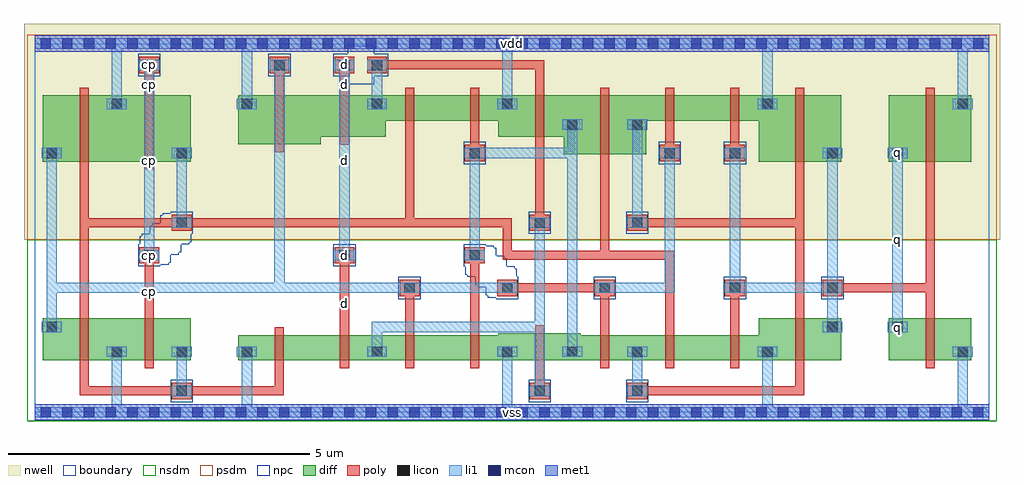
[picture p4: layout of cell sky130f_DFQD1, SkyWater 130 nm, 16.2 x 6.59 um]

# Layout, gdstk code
import gdstk
lib = gdstk.Library(unit=1e-6, precision=1e-09)
def R(c, l, rs):  # rectangles x0, y0, x1, y1
    for r in rs: c.add(gdstk.rectangle(r[:2], r[2:], *l))
def A(c, l, x, y, w, h, nx, ny, dx, dy):  # array of equal rectangles
    R(c, l, [(x+i*dx, y+j*dy, x+i*dx+w, y+j*dy+h) for i in range(nx) for j in range(ny)])
def P(c, l, *ps):  # polygons
    for p in ps: c.add(gdstk.Polygon(p, *l))
L0_0 = (0, 0)
nwell = (64, 20)
diff = (65, 20)
poly = (66, 20)
licon = (66, 44)
li1 = (67, 20)
mcon = (67, 44)
met1 = (68, 20)
nsdm = (93, 44)
psdm = (94, 20)
npc = (95, 20)
boundary = (235, 4)

sky130f_dfqd1 = lib.new_cell('sky130f_DFQD1')
R(sky130f_dfqd1, nwell, [(-0.18,2.86,16.02,6.445)])
A(sky130f_dfqd1, diff, 1.215, 0.86, 0.29, 0.29, 3, 1, 1.08, 0)
A(sky130f_dfqd1, diff, 3.375, 0.86, 1.37, 0.42, 4, 1, 1.08, 0)
A(sky130f_dfqd1, diff, 7.695, 0.86, 0.29, 0.29, 3, 1, 1.08, 0)
A(sky130f_dfqd1, diff, 8.775, 0.86, 1.37, 0.42, 3, 1, 1.08, 0)
A(sky130f_dfqd1, diff, 1.215, 4.97, 0.29, 0.29, 4, 1, 2.16, 0)
R(sky130f_dfqd1, diff, [(0.135,0.86,1.505,1.56), (1.215,0.86,2.585,1.56), (5.535,0.86,5.825,1.15), (7.695,0.86,9.065,1.315), (12.015,0.86,13.385,1.56), (12.015,0.86,12.305,1.15), (14.175,0.86,15.545,1.56), (15.255,0.86,15.545,1.15), (0.135,1.27,0.425,1.56), (13.095,1.27,13.385,1.56), (14.175,1.27,14.465,1.56), (0.135,4.16,1.505,5.26), (0.135,4.16,0.425,4.45), (1.215,4.16,2.585,5.26), (2.295,4.16,2.585,4.45), (12.015,4.16,13.385,5.26), (13.095,4.16,13.385,4.45), (14.175,4.16,15.545,5.26), (14.175,4.16,14.465,4.45), (8.775,4.285,10.145,5.26), (3.375,4.45,4.745,5.26), (4.455,4.57,5.825,5.26), (7.695,4.57,9.065,5.26), (8.775,4.63,9.065,4.92), (9.855,4.63,10.145,4.92), (5.535,4.84,6.905,5.26), (6.615,4.84,7.985,5.26), (9.855,4.84,11.225,5.26), (10.935,4.84,12.305,5.26), (12.015,4.97,12.305,5.26), (15.255,4.97,15.545,5.26)])
A(sky130f_dfqd1, poly, 3.985, 0.28, 0.15, 0.8, 3, 1, 4.32, 0)
A(sky130f_dfqd1, poly, 3.985, 0.73, 0.15, 0.68, 4, 1, 1.08, 0)
A(sky130f_dfqd1, poly, 9.385, 0.73, 0.15, 0.68, 3, 1, 1.08, 0)
A(sky130f_dfqd1, poly, 6.055, 1.93, 0.33, 0.27, 3, 1, 1.62, 0)
R(sky130f_dfqd1, poly, [(2.275,0.22,2.605,0.49), (8.215,0.22,8.545,0.49), (9.835,0.22,10.165,0.49), (0.745,0.28,0.895,1.08), (0.745,0.28,4.135,0.43), (9.925,0.28,12.775,0.43), (0.745,0.73,0.895,1.69), (1.825,0.73,1.975,1.69), (8.305,0.73,8.455,1.445), (12.625,0.73,12.775,1.69), (14.785,0.73,14.935,1.69), (0.745,0.93,0.895,4.38), (5.065,0.93,5.215,2.68), (6.145,0.93,6.295,2.14), (7.225,0.93,7.375,2.68), (9.385,0.93,9.535,2.14), (10.465,0.93,10.615,2.68), (11.545,0.93,11.695,2.14), (1.825,1.34,1.975,2.68), (12.625,1.34,12.775,4.38), (14.785,1.34,14.935,2.14), (11.455,1.93,11.785,2.2), (11.455,1.93,11.785,2.2), (13.075,1.93,13.405,2.2), (13.075,1.93,13.405,2.2), (7.765,1.99,9.535,2.14), (13.165,1.99,14.935,2.14), (13.165,1.99,14.935,2.14), (14.785,1.99,14.935,4.38), (1.735,2.47,2.065,2.74), (4.975,2.47,5.305,2.74), (7.135,2.47,7.465,2.74), (7.765,2.53,10.615,2.68), (7.765,2.53,7.915,3.22), (9.385,2.53,9.535,4.85), (2.275,3.01,2.605,3.28), (8.215,3.01,8.545,3.28), (9.835,3.01,10.165,3.28), (0.745,3.07,2.515,3.22), (0.745,3.07,7.915,3.22), (2.365,3.07,6.295,3.22), (6.145,3.07,6.295,5.19), (8.305,3.07,8.455,4.85), (9.925,3.07,12.775,3.22), (0.745,4.03,0.895,5.39), (1.825,4.03,1.975,5.39), (12.625,4.03,12.775,5.39), (14.785,4.03,14.935,5.39), (9.385,4.155,9.535,5.39), (7.135,4.17,7.465,4.44), (10.375,4.17,10.705,4.44), (11.455,4.17,11.785,4.44), (7.225,4.23,7.375,5.19), (10.465,4.23,10.615,5.19), (11.545,4.23,11.695,5.19), (3.985,4.32,4.135,5.39), (5.065,4.44,5.215,5.39), (8.305,4.44,8.455,5.39), (6.145,4.71,6.295,5.39), (7.225,4.71,7.375,5.39), (10.465,4.71,10.615,5.39), (11.545,4.71,11.695,5.39), (8.305,4.85,8.455,5.04), (1.825,5.04,1.975,5.84), (3.985,5.04,4.135,5.84), (5.065,5.04,5.215,5.84), (8.305,5.04,8.455,5.84), (1.735,5.63,2.065,5.9), (3.895,5.63,4.225,5.9), (4.975,5.63,5.305,5.9), (5.515,5.63,5.845,5.9), (5.605,5.69,8.455,5.84)])
A(sky130f_dfqd1, licon, 1.275, 0.92, 0.17, 0.17, 3, 1, 1.08, 0)
A(sky130f_dfqd1, licon, 7.755, 0.92, 0.17, 0.17, 3, 1, 1.08, 0)
A(sky130f_dfqd1, licon, 6.135, 1.98, 0.17, 0.17, 3, 1, 1.62, 0)
A(sky130f_dfqd1, licon, 1.275, 5.03, 0.17, 0.17, 4, 1, 2.16, 0)
R(sky130f_dfqd1, licon, [(2.355,0.27,2.525,0.44), (8.295,0.27,8.465,0.44), (9.915,0.27,10.085,0.44), (5.595,0.92,5.765,1.09), (12.075,0.92,12.245,1.09), (15.315,0.92,15.485,1.09), (0.195,1.33,0.365,1.5), (13.155,1.33,13.325,1.5), (14.235,1.33,14.405,1.5), (11.535,1.98,11.705,2.15), (11.535,1.98,11.705,2.15), (13.155,1.98,13.325,2.15), (13.155,1.98,13.325,2.15), (1.815,2.52,1.985,2.69), (5.055,2.52,5.225,2.69), (7.215,2.52,7.385,2.69), (2.355,3.06,2.525,3.23), (8.295,3.06,8.465,3.23), (9.915,3.06,10.085,3.23), (0.195,4.22,0.365,4.39), (2.355,4.22,2.525,4.39), (7.215,4.22,7.385,4.39), (10.455,4.22,10.625,4.39), (11.535,4.22,11.705,4.39), (13.155,4.22,13.325,4.39), (14.235,4.22,14.405,4.39), (8.835,4.69,9.005,4.86), (9.915,4.69,10.085,4.86), (12.075,5.03,12.245,5.2), (15.315,5.03,15.485,5.2), (1.815,5.68,1.985,5.85), (3.975,5.68,4.145,5.85), (5.055,5.68,5.225,5.85), (5.595,5.68,5.765,5.85)])
A(sky130f_dfqd1, li1, 3.435, 0.06, 0.17, 1.03, 3, 2, 4.32, 4.97)
A(sky130f_dfqd1, li1, 1.195, 0.92, 0.33, 0.17, 3, 1, 1.08, 0)
A(sky130f_dfqd1, li1, 7.675, 0.92, 0.33, 0.17, 3, 1, 1.08, 0)
A(sky130f_dfqd1, li1, 6.055, 1.98, 0.33, 0.17, 3, 1, 1.62, 0)
A(sky130f_dfqd1, li1, 1.195, 5.03, 0.33, 0.17, 4, 1, 2.16, 0)
R(sky130f_dfqd1, li1, [(0,-0.085,15.84,0.085), (1.275,0.06,1.445,1.09), (15.315,0.06,15.485,1.09), (2.275,0.27,2.605,0.44), (2.355,0.27,2.525,1.09), (8.215,0.27,8.545,0.44), (8.295,0.27,8.465,1.5), (9.835,0.27,10.165,0.44), (9.915,0.27,10.085,1.09), (5.515,0.92,5.845,1.09), (5.595,0.92,5.765,1.5), (8.835,0.92,9.005,4.39), (11.995,0.92,12.325,1.09), (15.235,0.92,15.565,1.09), (0.115,1.33,0.445,1.5), (0.195,1.33,0.365,2.15), (5.595,1.33,8.465,1.5), (8.295,1.33,8.465,3.23), (13.075,1.33,13.405,1.5), (13.155,1.33,13.325,2.15), (13.155,1.33,13.325,2.15), (14.155,1.33,14.485,1.5), (14.235,1.33,14.405,4.39), (0.195,1.98,6.305,2.15), (0.195,1.98,0.365,4.39), (3.975,1.98,4.145,5.85), (6.135,1.98,7.925,2.15), (9.375,1.98,10.625,2.15), (10.455,1.98,10.625,4.39), (11.455,1.98,11.785,2.15), (11.455,1.98,11.785,2.15), (11.535,1.98,13.325,2.15), (11.535,1.98,13.325,2.15), (11.535,1.98,11.705,4.39), (12.615,1.98,13.325,2.15), (13.075,1.98,13.405,2.15), (13.075,1.98,13.405,2.15), (13.155,1.98,13.325,4.39), (1.735,2.52,2.065,2.69), (1.815,2.52,1.985,5.85), (4.975,2.52,5.305,2.69), (5.055,2.52,5.225,5.85), (7.135,2.52,7.465,2.69), (7.215,2.52,7.385,4.39), (2.275,3.06,2.605,3.23), (2.355,3.06,2.525,4.39), (8.215,3.06,8.545,3.23), (9.835,3.06,10.165,3.23), (9.915,3.06,10.085,4.86), (0.115,4.22,0.445,4.39), (2.275,4.22,2.605,4.39), (7.135,4.22,7.465,4.39), (7.215,4.22,9.005,4.39), (8.835,4.22,9.005,4.86), (10.375,4.22,10.705,4.39), (11.455,4.22,11.785,4.39), (13.075,4.22,13.405,4.39), (14.155,4.22,14.485,4.39), (8.755,4.69,9.085,4.86), (9.835,4.69,10.165,4.86), (1.275,5.03,1.445,6.06), (5.595,5.03,5.765,5.85), (11.995,5.03,12.325,5.2), (15.235,5.03,15.565,5.2), (15.315,5.03,15.485,6.06), (1.735,5.68,2.065,5.85), (3.895,5.68,4.225,5.85), (4.975,5.68,5.305,5.85), (5.515,5.68,5.845,5.85), (0,6.035,15.84,6.205)])
A(sky130f_dfqd1, mcon, 0.095, -0.085, 0.17, 0.17, 44, 2, 0.36, 6.12)
R(sky130f_dfqd1, met1, [(0,-0.135,15.84,0.135), (0,5.985,15.84,6.255)])
R(sky130f_dfqd1, nsdm, [(-0.125,-0.145,15.965,0.145), (-0.125,0.145,15.965,2.86)])
R(sky130f_dfqd1, psdm, [(-0.125,2.86,15.965,5.975), (-0.125,5.975,15.965,6.265)])
R(sky130f_dfqd1, npc, [(2.255,0.17,2.625,0.54), (8.195,0.17,8.565,0.54), (9.815,0.17,10.185,0.54), (6.035,1.88,6.405,2.25), (9.275,1.88,9.645,2.25), (11.435,1.88,11.805,2.25), (13.055,1.88,13.425,2.25), (4.955,2.42,5.325,2.79), (8.195,2.96,8.565,3.33), (9.815,2.96,10.185,3.33), (7.115,4.12,7.485,4.49), (10.355,4.12,10.725,4.49), (11.435,4.12,11.805,4.49), (1.715,5.58,2.085,5.95), (3.875,5.58,4.245,5.95)])
P(sky130f_dfqd1, npc, [(7.655,1.88),(7.655,1.905),(7.52,1.905),(7.52,1.94),(7.485,1.94),(7.485,2.075),(7.35,2.075),(7.35,2.115),(7.31,2.115),(7.31,2.25),(7.175,2.25),(7.175,2.285),(7.14,2.285),(7.14,2.42),(7.115,2.42),(7.115,2.79),(7.485,2.79),(7.485,2.765),(7.62,2.765),(7.62,2.73),(7.655,2.73),(7.655,2.595),(7.79,2.595),(7.79,2.555),(7.83,2.555),(7.83,2.42),(7.965,2.42),(7.965,2.385),(8,2.385),(8,2.25),(8.025,2.25),(8.025,1.88)],
  [(1.715,2.42),(1.715,2.79),(1.74,2.79),(1.74,2.925),(1.775,2.925),(1.775,2.96),(1.91,2.96),(1.91,3.095),(1.95,3.095),(1.95,3.135),(2.085,3.135),(2.085,3.27),(2.12,3.27),(2.12,3.305),(2.255,3.305),(2.255,3.33),(2.625,3.33),(2.625,2.96),(2.6,2.96),(2.6,2.825),(2.565,2.825),(2.565,2.79),(2.43,2.79),(2.43,2.655),(2.39,2.655),(2.39,2.615),(2.255,2.615),(2.255,2.48),(2.22,2.48),(2.22,2.445),(2.085,2.445),(2.085,2.42)],
  [(5.19,5.445),(5.19,5.58),(4.955,5.58),(4.955,5.95),(5.19,5.95),(5.19,6.085),(5.63,6.085),(5.63,5.95),(5.865,5.95),(5.865,5.58),(5.63,5.58),(5.63,5.445)])
R(sky130f_dfqd1, boundary, [(0,0,15.84,6.12)])
sky130f_dfqd1.add(gdstk.FlexPath([(0.115,0.355),(15.565,0.355)], 0, ends="flush", simple_path=True, layer=0, datatype=0))  # L0_0
sky130f_dfqd1.add(gdstk.FlexPath([(0.115,1.005),(15.565,1.005)], 0, ends="flush", simple_path=True, layer=0, datatype=0))  # L0_0
sky130f_dfqd1.add(gdstk.FlexPath([(0.115,1.415),(15.565,1.415)], 0, ends="flush", simple_path=True, layer=0, datatype=0))  # L0_0
sky130f_dfqd1.add(gdstk.FlexPath([(0.115,2.065),(15.565,2.065)], 0, ends="flush", simple_path=True, layer=0, datatype=0))  # L0_0
sky130f_dfqd1.add(gdstk.FlexPath([(0.115,2.605),(15.565,2.605)], 0, ends="flush", simple_path=True, layer=0, datatype=0))  # L0_0
sky130f_dfqd1.add(gdstk.FlexPath([(0.115,3.145),(15.565,3.145)], 0, ends="flush", simple_path=True, layer=0, datatype=0))  # L0_0
sky130f_dfqd1.add(gdstk.FlexPath([(0.115,4.305),(15.565,4.305)], 0, ends="flush", simple_path=True, layer=0, datatype=0))  # L0_0
sky130f_dfqd1.add(gdstk.FlexPath([(0.115,4.775),(15.565,4.775)], 0, ends="flush", simple_path=True, layer=0, datatype=0))  # L0_0
sky130f_dfqd1.add(gdstk.FlexPath([(0.115,5.115),(15.565,5.115)], 0, ends="flush", simple_path=True, layer=0, datatype=0))  # L0_0
sky130f_dfqd1.add(gdstk.FlexPath([(0.115,5.765),(15.565,5.765)], 0, ends="flush", simple_path=True, layer=0, datatype=0))  # L0_0
sky130f_dfqd1.add(gdstk.FlexPath([(0.28,0.06),(0.28,6.06)], 0, ends="flush", simple_path=True, layer=0, datatype=0))  # L0_0
sky130f_dfqd1.add(gdstk.FlexPath([(0.82,0.06),(0.82,6.06)], 0, ends="flush", simple_path=True, layer=0, datatype=0))  # L0_0
sky130f_dfqd1.add(gdstk.FlexPath([(1.36,0.06),(1.36,6.06)], 0, ends="flush", simple_path=True, layer=0, datatype=0))  # L0_0
sky130f_dfqd1.add(gdstk.FlexPath([(1.9,0.06),(1.9,6.06)], 0, ends="flush", simple_path=True, layer=0, datatype=0))  # L0_0
sky130f_dfqd1.add(gdstk.FlexPath([(2.44,0.06),(2.44,6.06)], 0, ends="flush", simple_path=True, layer=0, datatype=0))  # L0_0
sky130f_dfqd1.add(gdstk.FlexPath([(2.98,0.06),(2.98,6.06)], 0, ends="flush", simple_path=True, layer=0, datatype=0))  # L0_0
sky130f_dfqd1.add(gdstk.FlexPath([(3.52,0.06),(3.52,6.06)], 0, ends="flush", simple_path=True, layer=0, datatype=0))  # L0_0
sky130f_dfqd1.add(gdstk.FlexPath([(4.06,0.06),(4.06,6.06)], 0, ends="flush", simple_path=True, layer=0, datatype=0))  # L0_0
sky130f_dfqd1.add(gdstk.FlexPath([(4.6,0.06),(4.6,6.06)], 0, ends="flush", simple_path=True, layer=0, datatype=0))  # L0_0
sky130f_dfqd1.add(gdstk.FlexPath([(5.14,0.06),(5.14,6.06)], 0, ends="flush", simple_path=True, layer=0, datatype=0))  # L0_0
sky130f_dfqd1.add(gdstk.FlexPath([(5.68,0.06),(5.68,6.06)], 0, ends="flush", simple_path=True, layer=0, datatype=0))  # L0_0
sky130f_dfqd1.add(gdstk.FlexPath([(6.22,0.06),(6.22,6.06)], 0, ends="flush", simple_path=True, layer=0, datatype=0))  # L0_0
sky130f_dfqd1.add(gdstk.FlexPath([(6.76,0.06),(6.76,6.06)], 0, ends="flush", simple_path=True, layer=0, datatype=0))  # L0_0
sky130f_dfqd1.add(gdstk.FlexPath([(7.3,0.06),(7.3,6.06)], 0, ends="flush", simple_path=True, layer=0, datatype=0))  # L0_0
sky130f_dfqd1.add(gdstk.FlexPath([(7.84,0.06),(7.84,6.06)], 0, ends="flush", simple_path=True, layer=0, datatype=0))  # L0_0
sky130f_dfqd1.add(gdstk.FlexPath([(8.38,0.06),(8.38,6.06)], 0, ends="flush", simple_path=True, layer=0, datatype=0))  # L0_0
sky130f_dfqd1.add(gdstk.FlexPath([(8.92,0.06),(8.92,6.06)], 0, ends="flush", simple_path=True, layer=0, datatype=0))  # L0_0
sky130f_dfqd1.add(gdstk.FlexPath([(9.46,0.06),(9.46,6.06)], 0, ends="flush", simple_path=True, layer=0, datatype=0))  # L0_0
sky130f_dfqd1.add(gdstk.FlexPath([(10,0.06),(10,6.06)], 0, ends="flush", simple_path=True, layer=0, datatype=0))  # L0_0
sky130f_dfqd1.add(gdstk.FlexPath([(10.54,0.06),(10.54,6.06)], 0, ends="flush", simple_path=True, layer=0, datatype=0))  # L0_0
sky130f_dfqd1.add(gdstk.FlexPath([(11.08,0.06),(11.08,6.06)], 0, ends="flush", simple_path=True, layer=0, datatype=0))  # L0_0
sky130f_dfqd1.add(gdstk.FlexPath([(11.62,0.06),(11.62,6.06)], 0, ends="flush", simple_path=True, layer=0, datatype=0))  # L0_0
sky130f_dfqd1.add(gdstk.FlexPath([(12.16,0.06),(12.16,6.06)], 0, ends="flush", simple_path=True, layer=0, datatype=0))  # L0_0
sky130f_dfqd1.add(gdstk.FlexPath([(12.7,0.06),(12.7,6.06)], 0, ends="flush", simple_path=True, layer=0, datatype=0))  # L0_0
sky130f_dfqd1.add(gdstk.FlexPath([(13.24,0.06),(13.24,6.06)], 0, ends="flush", simple_path=True, layer=0, datatype=0))  # L0_0
sky130f_dfqd1.add(gdstk.FlexPath([(13.78,0.06),(13.78,6.06)], 0, ends="flush", simple_path=True, layer=0, datatype=0))  # L0_0
sky130f_dfqd1.add(gdstk.FlexPath([(14.32,0.06),(14.32,6.06)], 0, ends="flush", simple_path=True, layer=0, datatype=0))  # L0_0
sky130f_dfqd1.add(gdstk.FlexPath([(14.86,0.06),(14.86,6.06)], 0, ends="flush", simple_path=True, layer=0, datatype=0))  # L0_0
sky130f_dfqd1.add(gdstk.FlexPath([(15.4,0.06),(15.4,6.06)], 0, ends="flush", simple_path=True, layer=0, datatype=0))  # L0_0
sky130f_dfqd1.add(gdstk.Label('q', (14.32,1.415), layer=65, texttype=20))
sky130f_dfqd1.add(gdstk.Label('q', (14.32,4.305), layer=65, texttype=20))
sky130f_dfqd1.add(gdstk.Label('d', (5.14,1.805), layer=66, texttype=20))
sky130f_dfqd1.add(gdstk.Label('d', (5.14,2.605), layer=66, texttype=20))
sky130f_dfqd1.add(gdstk.Label('d', (5.14,5.765), layer=66, texttype=20))
sky130f_dfqd1.add(gdstk.Label('d', (5.14,5.44), layer=66, texttype=20))
sky130f_dfqd1.add(gdstk.Label('cp', (1.9,2.01), layer=66, texttype=20))
sky130f_dfqd1.add(gdstk.Label('cp', (1.9,2.605), layer=66, texttype=20))
sky130f_dfqd1.add(gdstk.Label('cp', (1.9,5.765), layer=66, texttype=20))
sky130f_dfqd1.add(gdstk.Label('cp', (1.9,5.44), layer=66, texttype=20))
sky130f_dfqd1.add(gdstk.Label('q', (14.32,1.415), layer=66, texttype=44))
sky130f_dfqd1.add(gdstk.Label('q', (14.32,4.305), layer=66, texttype=44))
sky130f_dfqd1.add(gdstk.Label('d', (5.14,2.605), layer=66, texttype=44))
sky130f_dfqd1.add(gdstk.Label('d', (5.14,5.765), layer=66, texttype=44))
sky130f_dfqd1.add(gdstk.Label('cp', (1.9,2.605), layer=66, texttype=44))
sky130f_dfqd1.add(gdstk.Label('cp', (1.9,5.765), layer=66, texttype=44))
sky130f_dfqd1.add(gdstk.Label('d', (5.14,2.605), layer=67, texttype=5))
sky130f_dfqd1.add(gdstk.Label('d', (5.14,4.185), layer=67, texttype=5))
sky130f_dfqd1.add(gdstk.Label('d', (5.14,5.765), layer=67, texttype=5))
sky130f_dfqd1.add(gdstk.Label('cp', (1.9,2.605), layer=67, texttype=5))
sky130f_dfqd1.add(gdstk.Label('cp', (1.9,4.185), layer=67, texttype=5))
sky130f_dfqd1.add(gdstk.Label('cp', (1.9,5.765), layer=67, texttype=5))
sky130f_dfqd1.add(gdstk.Label('q', (14.32,1.415), layer=67, texttype=5))
sky130f_dfqd1.add(gdstk.Label('q', (14.32,4.305), layer=67, texttype=5))
sky130f_dfqd1.add(gdstk.Label('q', (14.32,2.86), layer=67, texttype=5))
sky130f_dfqd1.add(gdstk.Label('vss', (7.92,0), layer=67, texttype=5))
sky130f_dfqd1.add(gdstk.Label('vdd', (7.92,6.12), layer=67, texttype=5))
sky130f_dfqd1.add(gdstk.Label('vss', (7.92,0), layer=68, texttype=5))
sky130f_dfqd1.add(gdstk.Label('vdd', (7.92,6.12), layer=68, texttype=5))

lib.write_gds('sky130f_DFQD1.gds')
